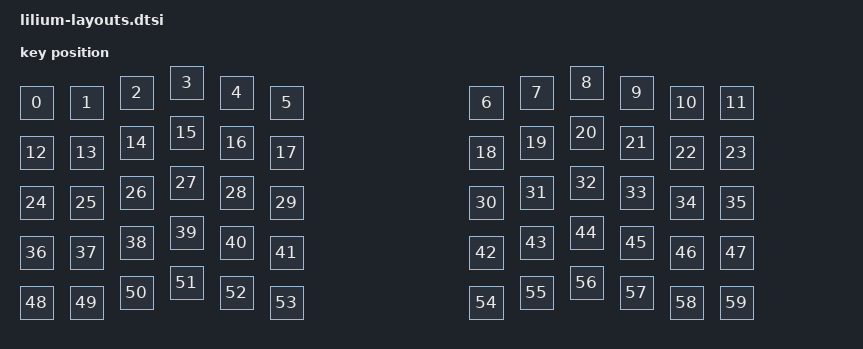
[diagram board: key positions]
#include <physical_layouts.dtsi>

/ {
    physical_layout0: physical_layout_0 {
        compatible = "zmk,physical-layout";
        display-name = "Default Layout";

        transform = <&default_transform>;
        kscan = <&kscan0>;

        keys = <
            /* Row 0 */
            &key_physical_attrs 75 75 100  40 0 0 0
            &key_physical_attrs 75 75 200  40 0 0 0
            &key_physical_attrs 75 75 300  20 0 0 0
            &key_physical_attrs 75 75 400   0 0 0 0
            &key_physical_attrs 75 75 500  20 0 0 0
            &key_physical_attrs 75 75 600  40 0 0 0
            &key_physical_attrs 75 75 1000 40 0 0 0
            &key_physical_attrs 75 75 1100 20 0 0 0
            &key_physical_attrs 75 75 1200 0 0 0 0
            &key_physical_attrs 75 75 1300 20 0 0 0
            &key_physical_attrs 75 75 1400 40 0 0 0
            &key_physical_attrs 75 75 1500 40 0 0 0

            /* Row 1 */
            &key_physical_attrs 75 75 100 140 0 0 0
            &key_physical_attrs 75 75 200 140 0 0 0
            &key_physical_attrs 75 75 300 120 0 0 0
            &key_physical_attrs 75 75 400 100 0 0 0
            &key_physical_attrs 75 75 500 120 0 0 0
            &key_physical_attrs 75 75 600 140 0 0 0
            &key_physical_attrs 75 75 1000 140 0 0 0
            &key_physical_attrs 75 75 1100 120 0 0 0
            &key_physical_attrs 75 75 1200 100 0 0 0
            &key_physical_attrs 75 75 1300 120 0 0 0
            &key_physical_attrs 75 75 1400 140 0 0 0
            &key_physical_attrs 75 75 1500 140 0 0 0

            /* Row 2 */
            &key_physical_attrs 75 75 100 240 0 0 0
            &key_physical_attrs 75 75 200 240 0 0 0
            &key_physical_attrs 75 75 300 220 0 0 0
            &key_physical_attrs 75 75 400 200 0 0 0
            &key_physical_attrs 75 75 500 220 0 0 0
            &key_physical_attrs 75 75 600 240 0 0 0
            &key_physical_attrs 75 75 1000 240 0 0 0
            &key_physical_attrs 75 75 1100 220 0 0 0
            &key_physical_attrs 75 75 1200 200 0 0 0
            &key_physical_attrs 75 75 1300 220 0 0 0
            &key_physical_attrs 75 75 1400 240 0 0 0
            &key_physical_attrs 75 75 1500 240 0 0 0

            /* Row 3 */
            &key_physical_attrs 75 75 100 340 0 0 0
            &key_physical_attrs 75 75 200 340 0 0 0
            &key_physical_attrs 75 75 300 320 0 0 0
            &key_physical_attrs 75 75 400 300 0 0 0
            &key_physical_attrs 75 75 500 320 0 0 0
            &key_physical_attrs 75 75 600 340 0 0 0
            &key_physical_attrs 75 75 1000 340 0 0 0
            &key_physical_attrs 75 75 1100 320 0 0 0
            &key_physical_attrs 75 75 1200 300 0 0 0
            &key_physical_attrs 75 75 1300 320 0 0 0
            &key_physical_attrs 75 75 1400 340 0 0 0
            &key_physical_attrs 75 75 1500 340 0 0 0

            /* Row 4 */
            &key_physical_attrs 75 75 100 440 0 0 0
            &key_physical_attrs 75 75 200 440 0 0 0
            &key_physical_attrs 75 75 300 420 0 0 0
            &key_physical_attrs 75 75 400 400 0 0 0
            &key_physical_attrs 75 75 500 420 0 0 0
            &key_physical_attrs 75 75 600 440 0 0 0
            &key_physical_attrs 75 75 1000 440 0 0 0
            &key_physical_attrs 75 75 1100 420 0 0 0
            &key_physical_attrs 75 75 1200 400 0 0 0
            &key_physical_attrs 75 75 1300 420 0 0 0
            &key_physical_attrs 75 75 1400 440 0 0 0
            &key_physical_attrs 75 75 1500 440 0 0 0
        >;
    }
}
